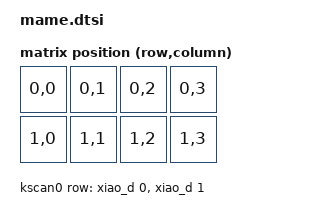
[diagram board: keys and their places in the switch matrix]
#include <dt-bindings/zmk/matrix_transform.h>
#include <dt-bindings/zmk/rgb.h>
#include <physical_layouts.dtsi>

/ {
    chosen {
        zmk,physical-layout = &physical_layout0;
    };

    kscan0: kscan0 {
        compatible = "zmk,kscan-gpio-matrix";
        diode-direction = "col2row";
        wakeup-source;

        row-gpios
            = <&xiao_d 0 (GPIO_ACTIVE_HIGH | GPIO_PULL_DOWN)>
            , <&xiao_d 1 (GPIO_ACTIVE_HIGH | GPIO_PULL_DOWN)>
            ;
    };
    
    default_transform: keymap_transform0 {
        compatible = "zmk,matrix-transform";
        columns = <4>;
        rows = <2>;
        map = <
            RC(0,0) RC(0,1) RC(0,2) RC(0,3)
            RC(1,0) RC(1,1) RC(1,2) RC(1,3)
        >;
    };

    physical_layout0: physical_layout_0 {
        compatible = "zmk,physical-layout";
        display-name = "Default Layout";
        kscan = <&kscan0>;
        transform = <&default_transform>;
        keys  //                     w   h    x    y     rot    rx    ry
            = <&key_physical_attrs 100 100    0    0       0     0     0>
            , <&key_physical_attrs 100 100  100    0       0     0     0>
            , <&key_physical_attrs 100 100  200    0       0     0     0>
            , <&key_physical_attrs 100 100  300    0       0     0     0>
            , <&key_physical_attrs 100 100    0  100       0     0     0>
            , <&key_physical_attrs 100 100  100  100       0     0     0>
            , <&key_physical_attrs 100 100  200  100       0     0     0>
            , <&key_physical_attrs 100 100  300  100       0     0     0>
            ;

    };
};
